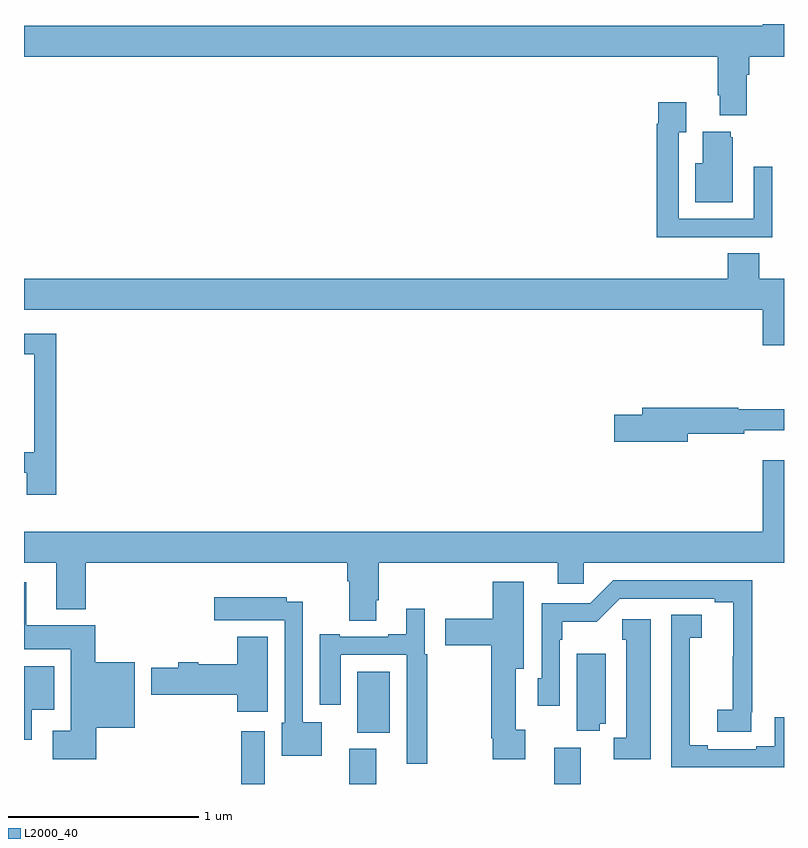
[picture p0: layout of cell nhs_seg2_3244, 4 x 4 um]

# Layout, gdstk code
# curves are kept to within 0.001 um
import gdstk
lib = gdstk.Library(unit=1e-6, precision=1e-09)
def R(c, l, rs):  # rectangles x0, y0, x1, y1
    for r in rs: c.add(gdstk.rectangle(r[:2], r[2:], *l))
def P(c, l, *ps):  # polygons
    for p in ps: c.add(gdstk.Polygon(p, *l))
L2000_40 = (2000, 40)

nhs_seg2_3244 = lib.new_cell('nhs_seg2_3244')
R(nhs_seg2_3244, L2000_40, [(282.143,651.8,282.268,652.078), (282.713,651.8,282.853,651.985), (283.79,651.8,283.93,651.991), (282.755,652.07,282.925,652.39)])
P(nhs_seg2_3244, L2000_40, [(284.803,655.532),(284.816,655.532),(284.816,655.628),(285,655.628),(285,655.8),(284.888,655.8),(284.888,655.792),(281,655.792),(281,655.628),(284.651,655.628),(284.651,655.426),(284.663,655.426),(284.663,655.319),(284.803,655.319)],
  [(284.621,654.678),(284.937,654.678),(284.937,655.048),(284.841,655.048),(284.841,654.774),(284.445,654.774),(284.445,655.231),(284.485,655.231),(284.485,655.387),(284.337,655.387),(284.337,655.274),(284.329,655.274),(284.329,654.677),(284.621,654.677)],
  [(284.731,655.203),(284.72,655.203),(284.72,655.234),(284.573,655.234),(284.573,655.066),(284.534,655.066),(284.534,654.863),(284.731,654.863)],
  [(285,654.46),(284.87,654.46),(284.87,654.593),(284.705,654.593),(284.705,654.46),(281,654.46),(281,654.296),(284.888,654.296),(284.888,654.108),(285,654.108)],
  [(281.171,654.169),(281,654.169),(281,654.063),(281.055,654.063),(281.055,653.547),(281,653.547),(281,653.439),(281.015,653.439),(281.015,653.322),(281.171,653.322)],
  [(284.494,653.644),(284.792,653.644),(284.792,653.663),(285,653.663),(285,653.773),(284.759,653.773),(284.759,653.78),(284.255,653.78),(284.255,653.744),(284.106,653.744),(284.106,653.602),(284.494,653.602)],
  [(281,652.964),(281.171,652.964),(281.171,652.721),(281.324,652.721),(281.324,652.964),(282.701,652.964),(282.701,652.868),(282.713,652.868),(282.713,652.66),(282.853,652.66),(282.853,652.768),(282.866,652.768),(282.866,652.964),(283.808,652.964),(283.808,652.854),(283.947,652.854),(283.947,652.964),(285,652.964),(285,653.503),(284.888,653.503),(284.888,653.128),(281,653.128)],
  [(284.828,652.177),(284.834,652.177),(284.834,652.872),(284.1,652.872),(283.98,652.752),(283.725,652.752),(283.725,652.356),(283.704,652.356),(283.704,652.212),(283.821,652.212),(283.821,652.559),(283.834,652.559),(283.834,652.655),(284.015,652.655),(284.136,652.776),(284.636,652.776),(284.636,652.756),(284.732,652.756),(284.731,652.19),(284.649,652.19),(284.649,652.075),(284.828,652.075)],
  [(283.639,652.086),(283.588,652.086),(283.588,652.406),(283.63,652.406),(283.63,652.864),(283.466,652.864),(283.466,652.671),(283.218,652.671),(283.218,652.529),(283.459,652.529),(283.459,652.042),(283.466,652.042),(283.466,651.93),(283.639,651.93)],
  [(281.381,652.097),(281.584,652.097),(281.584,652.441),(281.376,652.441),(281.376,652.636),(281.011,652.636),(281.011,652.861),(281,652.861),(281,652.508),(281.246,652.508),(281.246,652.081),(281.151,652.081),(281.151,651.929),(281.381,651.929)],
  [(282.568,652.126),(282.468,652.126),(282.468,652.76),(282.384,652.76),(282.384,652.783),(282,652.783),(282,652.661),(282.275,652.661),(282.275,652.662),(282.372,652.662),(282.372,652.122),(282.356,652.122),(282.356,651.95),(282.568,651.95)],
  [(283.123,652.482),(283.11,652.482),(283.11,652.723),(283.013,652.723),(283.013,652.588),(282.917,652.588),(282.917,652.575),(282.661,652.575),(282.661,652.588),(282.557,652.588),(282.557,652.218),(282.667,652.218),(282.667,652.479),(283.014,652.479),(283.014,651.906),(283.123,651.906)],
  [(285,652.151),(284.952,652.151),(284.952,651.998),(284.855,651.998),(284.855,651.984),(284.599,651.984),(284.599,652.004),(284.503,652.004),(284.503,652.267),(284.505,652.267),(284.505,652.571),(284.566,652.571),(284.566,652.691),(284.406,652.691),(284.406,651.888),(285,651.888)],
  [(284.299,652.666),(284.149,652.666),(284.149,652.56),(284.171,652.56),(284.171,652.044),(284.103,652.044),(284.103,651.929),(284.299,651.929)],
  [(282.283,652.576),(282.122,652.576),(282.122,652.429),(281.917,652.429),(281.917,652.442),(281.813,652.442),(281.813,652.412),(281.669,652.412),(281.669,652.27),(282.122,652.27),(282.122,652.179),(282.283,652.179)],
  [(284.03,652.118),(284.062,652.118),(284.062,652.486),(283.91,652.486),(283.91,652.081),(284.03,652.081)],
  [(281.041,652.19),(281.158,652.19),(281.158,652.42),(281,652.42),(281,652.032),(281.041,652.032)])

lib.write_gds('nhs_seg2_3244.gds')
